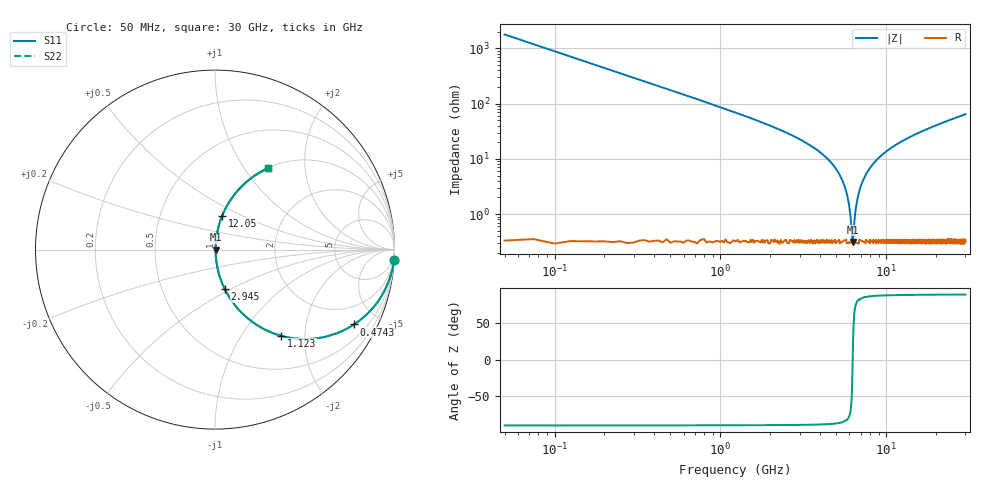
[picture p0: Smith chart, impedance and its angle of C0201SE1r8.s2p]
!	AVX Thin Film Operation 	Date: April 2014
!	Description: Accu-P® Series, Thin Film  SMD RF Capacitor
!	Part Number: 02013J1R8PBSTR
# MHZ S MA R 50
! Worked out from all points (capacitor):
!   1201 points, 50 MHz to 30 GHz, reference 50 ohm
!   read as one part in series: C = 1.8 pF near 199.8 MHz
!   lowest |Z| = 314 mohm at 6.265 GHz (marker M1)
!   series resonance near 6.274 GHz, so ESL is about 360 pH
!   S11 on the Smith chart (normalised r, x): 50 MHz: 1, -35; 474.3 MHz: 1.01, -3.71; 1.123 GHz: 1.01, -1.52; 2.945 GHz: 1.01, -0.47; 12.05 GHz: 1.01, +0.39; 30 GHz: 1.01, +1.29
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50  0.998 -3.2  0.056 86.8  0.056 86.8  0.998 -3.2
274.625  0.955 -17.3  0.297 72.7  0.297 72.7  0.955 -17.3
474.292  0.879 -28.3  0.474 61.6  0.474 61.6  0.879 -28.3
1123.208  0.605 -52.5  0.794 37.2  0.794 37.2  0.605 -52.5
1847  0.4 -66.0  0.914 23.5  0.914 23.5  0.4 -66.0
2945.167  0.227 -76.1  0.971 13.1  0.971 13.1  0.227 -76.1
5041.667  0.062 -83.5  0.995 3.5  0.995 3.5  0.062 -83.5
5790.417  0.023 -80.6  0.997 1.3  0.997 1.3  0.023 -80.6
5965.125  0.015 -76.5  0.997 0.8  0.997 0.8  0.015 -76.5
6164.792  0.005878 -56.7  0.997 0.3  0.997 0.3  0.005878 -56.7
6264.625  0.003227 -7.4  0.997 0.0  0.997 0.0  0.003227 -7.4
6364.458  0.005142 51.3  0.997 -0.2  0.997 -0.2  0.005142 51.3
6589.083  0.014 76.1  0.997 -0.8  0.997 -0.8  0.014 76.1
6788.75  0.022 80.5  0.997 -1.3  0.997 -1.3  0.022 80.5
7387.75  0.046 83.4  0.996 -2.6  0.996 -2.6  0.046 83.4
8411.042  0.083 83.0  0.993 -4.8  0.993 -4.8  0.083 83.0
10058.29  0.136 80.8  0.987 -7.8  0.987 -7.8  0.136 80.8
12054.96  0.193 77.9  0.978 -11.1  0.978 -11.1  0.193 77.9
15025  0.268 73.8  0.96 -15.5  0.96 -15.5  0.268 73.8
20016.67  0.375 67.5  0.924 -22.0  0.924 -22.0  0.375 67.5
25033.29  0.465 61.9  0.882 -27.7  0.882 -27.7  0.465 61.9
30000  0.54 57.0  0.839 -32.7  0.839 -32.7  0.54 57.0
